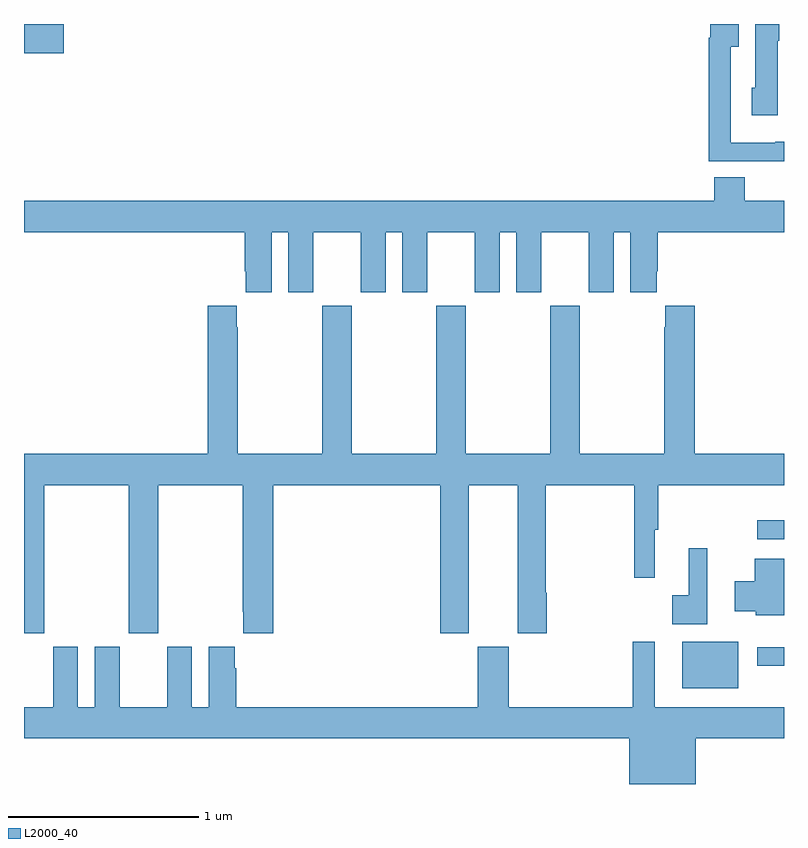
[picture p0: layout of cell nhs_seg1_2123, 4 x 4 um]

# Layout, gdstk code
import gdstk
lib = gdstk.Library(unit=1e-6, precision=1e-09)
def R(c, l, rs):  # rectangles x0, y0, x1, y1
    for r in rs: c.add(gdstk.rectangle(r[:2], r[2:], *l))
def P(c, l, *ps):  # polygons
    for p in ps: c.add(gdstk.Polygon(p, *l))
L2000_40 = (2000, 40)

nhs_seg1_2123 = lib.new_cell('nhs_seg1_2123')
R(nhs_seg1_2123, L2000_40, [(230.465,510.704,230.758,510.949), (230.859,510.821,231,510.919), (230.859,511.488,231,511.586), (227,514.046,227.209,514.199)])
P(nhs_seg1_2123, L2000_40, [(230.968,514.11),(230.974,514.11),(230.974,514.199),(230.849,514.199),(230.849,513.864),(230.831,513.864),(230.831,513.72),(230.968,513.72)],
  [(231,513.58),(230.955,513.58),(230.955,513.574),(230.721,513.574),(230.721,514.079),(230.761,514.079),(230.761,514.199),(230.613,514.199),(230.613,514.127),(230.605,514.127),(230.605,513.477),(230.855,513.477),(230.855,513.476),(231,513.476)],
  [(228.304,513.104),(228.392,513.104),(228.392,512.787),(228.523,512.787),(228.523,513.104),(228.773,513.104),(228.773,512.787),(228.904,512.787),(228.904,513.104),(228.992,513.104),(228.992,512.787),(229.123,512.787),(229.123,513.104),(229.373,513.104),(229.373,512.787),(229.504,512.787),(229.504,513.104),(229.592,513.104),(229.592,512.787),(229.723,512.787),(229.723,513.104),(229.973,513.104),(229.973,512.787),(230.104,512.787),(230.104,513.104),(230.192,513.104),(230.192,512.787),(230.329,512.787),(230.329,512.899),(230.336,512.899),(230.336,513.104),(231,513.104),(231,513.268),(230.793,513.268),(230.793,513.392),(230.633,513.392),(230.633,513.268),(227,513.268),(227,513.104),(228.161,513.104),(228.161,512.899),(228.167,512.899),(228.167,512.787),(228.304,512.787)],
  [(227.106,511.772),(227.551,511.772),(227.551,510.993),(227.706,510.993),(227.706,511.772),(228.151,511.772),(228.151,511.105),(228.155,511.105),(228.155,510.993),(228.311,510.993),(228.311,511.772),(229.19,511.772),(229.19,510.993),(229.342,510.993),(229.342,511.772),(229.598,511.772),(229.598,510.993),(229.751,510.993),(229.751,511.205),(229.746,511.205),(229.746,511.772),(230.211,511.772),(230.211,511.284),(230.321,511.284),(230.321,511.536),(230.339,511.536),(230.339,511.772),(231,511.772),(231,511.936),(230.531,511.936),(230.531,512.716),(230.375,512.716),(230.375,512.603),(230.371,512.603),(230.371,511.936),(229.926,511.936),(229.926,512.716),(229.771,512.716),(229.771,511.936),(229.326,511.936),(229.326,512.716),(229.171,512.716),(229.171,511.936),(228.726,511.936),(228.726,512.716),(228.571,512.716),(228.571,511.936),(228.126,511.936),(228.126,512.603),(228.121,512.603),(228.121,512.716),(227.966,512.716),(227.966,511.936),(227,511.936),(227,510.993),(227.106,510.993)],
  [(230.596,511.441),(230.498,511.441),(230.498,511.193),(230.412,511.193),(230.412,511.04),(230.596,511.04)],
  [(231,511.384),(230.846,511.384),(230.846,511.267),(230.741,511.267),(230.741,511.109),(230.85,511.109),(230.85,511.088),(231,511.088)],
  [(230.536,510.44),(231,510.44),(231,510.604),(230.32,510.604),(230.32,510.949),(230.203,510.949),(230.203,510.604),(229.552,510.604),(229.552,510.921),(229.388,510.921),(229.388,510.604),(228.116,510.604),(228.116,510.809),(228.109,510.809),(228.109,510.922),(227.972,510.922),(227.972,510.604),(227.884,510.604),(227.884,510.922),(227.753,510.922),(227.753,510.604),(227.503,510.604),(227.503,510.922),(227.372,510.922),(227.372,510.604),(227.284,510.604),(227.284,510.922),(227.153,510.922),(227.153,510.604),(227,510.604),(227,510.44),(230.186,510.44),(230.186,510.199),(230.536,510.199)])

lib.write_gds('nhs_seg1_2123.gds')
